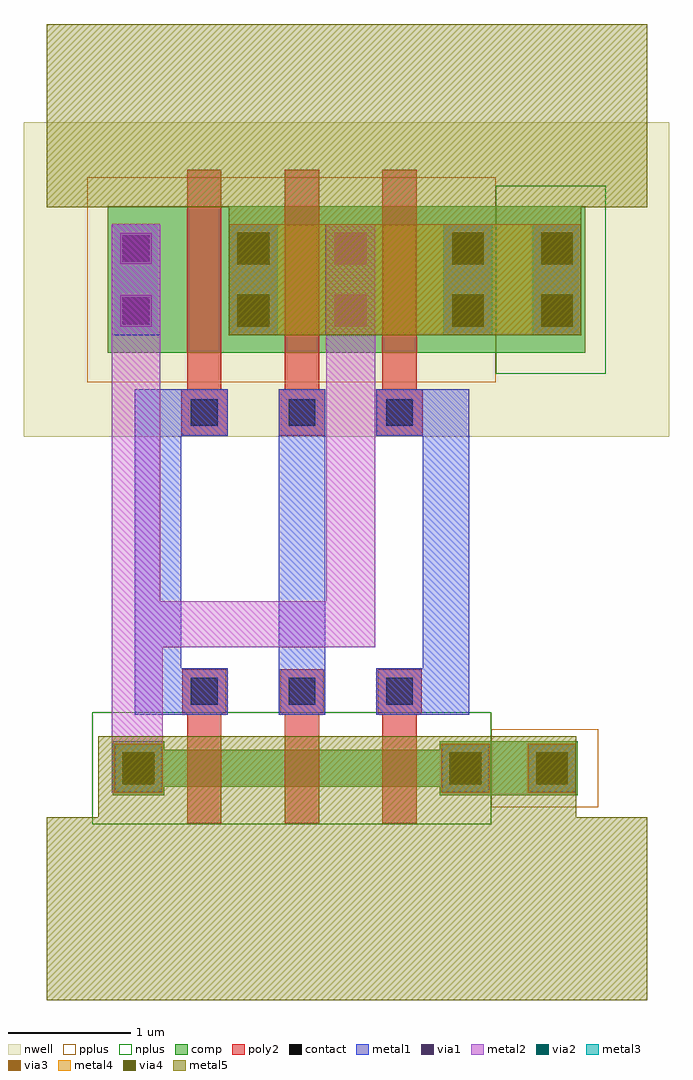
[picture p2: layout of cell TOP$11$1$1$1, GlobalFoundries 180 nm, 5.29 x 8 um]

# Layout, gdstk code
import gdstk
lib = gdstk.Library(unit=1e-6, precision=1e-09)
def R(c, l, rs):  # rectangles x0, y0, x1, y1
    for r in rs: c.add(gdstk.rectangle(r[:2], r[2:], *l))
def A(c, l, x, y, w, h, nx, ny, dx, dy):  # array of equal rectangles
    R(c, l, [(x+i*dx, y+j*dy, x+i*dx+w, y+j*dy+h) for i in range(nx) for j in range(ny)])
nwell = (21, 0)
comp = (22, 0)
poly2 = (30, 0)
pplus = (31, 0)
nplus = (32, 0)
contact = (33, 0)
metal1 = (34, 0)
via1 = (35, 0)
metal2 = (36, 0)
via2 = (38, 0)
via3 = (40, 0)
via4 = (41, 0)
metal3 = (42, 0)
metal4 = (46, 0)
metal5 = (81, 0)

pfet_12_1_1_1 = lib.new_cell('pfet$12$1$1$1')

nfet_10_1_1_1 = lib.new_cell('nfet$10$1$1$1')
R(nfet_10_1_1_1, comp, [(-0.42,-0.07,0,0.37), (2.26,-0.07,2.68,0.37), (2.68,-0.07,3.39,0.37), (0,0,2.26,0.3)])
A(nfet_10_1_1_1, poly2, 0.19, -0.3, 0.28, 0.9, 3, 1, 0.8, 0)
A(nfet_10_1_1_1, poly2, 0.15, 0.6, 0.36, 0.36, 3, 1, 0.8, 0)
R(nfet_10_1_1_1, pplus, [(2.68,-0.17,3.56,0.47)])
R(nfet_10_1_1_1, nplus, [(-0.59,-0.31,2.68,0.61)])
A(nfet_10_1_1_1, contact, 0.22, 0.67, 0.22, 0.22, 3, 1, 0.8, 0)
R(nfet_10_1_1_1, contact, [(-0.32,0.04,-0.1,0.26), (2.36,0.04,2.58,0.26), (3.07,0.04,3.29,0.26)])
A(nfet_10_1_1_1, metal1, 0.14, 0.589, 0.38, 0.382, 3, 1, 0.8, 0)
R(nfet_10_1_1_1, metal1, [(-0.4,-0.041,-0.02,0.341), (2.28,-0.041,2.66,0.341), (2.99,-0.041,3.37,0.341)])

via_dev_4_6_1_1_1 = lib.new_cell('via_dev$4$6$1$1$1')
R(via_dev_4_6_1_1_1, metal2, [(0,0,0.4,0.4)])
R(via_dev_4_6_1_1_1, via2, [(0.07,0.07,0.33,0.33)])
R(via_dev_4_6_1_1_1, via3, [(0.07,0.07,0.33,0.33)])
R(via_dev_4_6_1_1_1, via4, [(0.07,0.07,0.33,0.33)])
R(via_dev_4_6_1_1_1, metal3, [(0,0,0.4,0.4)])
R(via_dev_4_6_1_1_1, metal4, [(0,0,0.4,0.4)])
R(via_dev_4_6_1_1_1, metal5, [(0,0,0.4,0.4)])

via_dev_18_1_1_1 = lib.new_cell('via_dev$18$1$1$1')
R(via_dev_18_1_1_1, metal1, [(0,0,0.4,0.4)])
R(via_dev_18_1_1_1, via1, [(0.07,0.07,0.33,0.33)])
R(via_dev_18_1_1_1, metal2, [(0,0,0.4,0.4)])
R(via_dev_18_1_1_1, via2, [(0.07,0.07,0.33,0.33)])
R(via_dev_18_1_1_1, via3, [(0.07,0.07,0.33,0.33)])
R(via_dev_18_1_1_1, via4, [(0.07,0.07,0.33,0.33)])
R(via_dev_18_1_1_1, metal3, [(0,0,0.4,0.4)])
R(via_dev_18_1_1_1, metal4, [(0,0,0.4,0.4)])
R(via_dev_18_1_1_1, metal5, [(0,0,0.4,0.4)])

via_dev_6_3_1_1_1 = lib.new_cell('via_dev$6$3$1$1$1')
R(via_dev_6_3_1_1_1, metal1, [(0,0,0.4,0.4)])
R(via_dev_6_3_1_1_1, via1, [(0.07,0.07,0.33,0.33)])
R(via_dev_6_3_1_1_1, metal2, [(0,0,0.4,0.4)])

pfet_1_3_1_1_1 = lib.new_cell('pfet$1$3$1$1$1')
R(pfet_1_3_1_1_1, nwell, [(-1.15,-0.69,4.14,1.89)])
R(pfet_1_3_1_1_1, comp, [(-0.46,0,0,1.2), (0,0,2.26,1.2), (2.26,0,2.72,1.2), (2.72,0,3.45,1.2)])
A(pfet_1_3_1_1_1, poly2, 0.14, -0.68, 0.38, 0.38, 3, 1, 0.8, 0)
A(pfet_1_3_1_1_1, poly2, 0.19, -0.3, 0.28, 1.8, 3, 1, 0.8, 0)
R(pfet_1_3_1_1_1, pplus, [(-0.63,-0.24,2.72,1.44)])
R(pfet_1_3_1_1_1, nplus, [(2.72,-0.17,3.62,1.37)])
A(pfet_1_3_1_1_1, contact, 0.22, -0.6, 0.22, 0.22, 3, 1, 0.8, 0)
R(pfet_1_3_1_1_1, contact, [(-0.34,0.235,-0.12,0.455), (0.62,0.235,0.84,0.455), (1.42,0.235,1.64,0.455), (2.38,0.235,2.6,0.455), (3.11,0.235,3.33,0.455), (-0.34,0.745,-0.12,0.965), (0.62,0.745,0.84,0.965), (1.42,0.745,1.64,0.965), (2.38,0.745,2.6,0.965), (3.11,0.745,3.33,0.965)])
A(pfet_1_3_1_1_1, metal1, 0.14, -0.681, 0.38, 0.382, 3, 1, 0.8, 0)
R(pfet_1_3_1_1_1, metal1, [(-0.42,0.155,-0.04,1.045), (0.54,0.155,0.92,1.045), (1.34,0.155,1.72,1.045), (2.3,0.155,2.68,1.045), (3.03,0.155,3.41,1.045)])

top_11_1_1_1 = lib.new_cell('TOP$11$1$1$1')
R(top_11_1_1_1, metal1, [(0.72,2.339,1.1,5.006), (3.08,2.339,3.46,5.006), (1.9,2.721,2.28,4.624), (0.53,5.45,0.93,6.36), (1.49,5.45,1.89,6.36), (2.28,5.45,2.69,6.36), (3.25,5.45,3.65,6.36), (3.98,5.45,4.38,6.36)])
R(top_11_1_1_1, metal2, [(0.53,1.7,0.55,2.1), (0.53,2.1,0.95,2.89), (0.53,2.89,2.69,3.27), (2.29,2.89,2.69,5.45), (0.53,3.27,0.93,5.45), (0.53,5.45,0.93,6.36), (2.29,5.45,2.69,6.36), (1.49,5.85,1.89,5.96), (3.25,5.85,3.65,5.96), (3.98,5.85,4.38,5.96)])
R(top_11_1_1_1, metal3, [(1.49,5.85,1.89,5.96), (3.25,5.85,3.65,5.96), (3.98,5.85,4.38,5.96)])
R(top_11_1_1_1, metal4, [(1.49,5.45,4.38,6.36)])
R(top_11_1_1_1, metal5, [(0,0,4.92,1.5), (0.42,1.5,4.34,2.16), (1.49,5.45,4.38,6.5), (0,6.5,4.92,8)])
top_11_1_1_1.add(gdstk.Reference(pfet_12_1_1_1, (2.205,4.77)))
top_11_1_1_1.add(gdstk.Reference(nfet_10_1_1_1, (0.96,1.75)))
top_11_1_1_1.add(gdstk.Reference(pfet_12_1_1_1, (2.115,4.64)))
top_11_1_1_1.add(gdstk.Reference(pfet_12_1_1_1, (1.505,3.22)))
top_11_1_1_1.add(gdstk.Reference(via_dev_4_6_1_1_1, (3.94,1.7)))
top_11_1_1_1.add(gdstk.Reference(via_dev_18_1_1_1, (1.49,5.96)))
top_11_1_1_1.add(gdstk.Reference(via_dev_18_1_1_1, (1.49,5.45)))
top_11_1_1_1.add(gdstk.Reference(via_dev_4_6_1_1_1, (3.23,1.7)))
top_11_1_1_1.add(gdstk.Reference(via_dev_18_1_1_1, (3.25,5.45)))
top_11_1_1_1.add(gdstk.Reference(via_dev_18_1_1_1, (3.25,5.96)))
top_11_1_1_1.add(gdstk.Reference(via_dev_4_6_1_1_1, (0.55,1.7)))
top_11_1_1_1.add(gdstk.Reference(via_dev_18_1_1_1, (3.98,5.96)))
top_11_1_1_1.add(gdstk.Reference(via_dev_18_1_1_1, (3.98,5.45)))
top_11_1_1_1.add(gdstk.Reference(via_dev_6_3_1_1_1, (0.53,5.96)))
top_11_1_1_1.add(gdstk.Reference(via_dev_6_3_1_1_1, (0.53,5.45)))
top_11_1_1_1.add(gdstk.Reference(via_dev_6_3_1_1_1, (2.29,5.96)))
top_11_1_1_1.add(gdstk.Reference(via_dev_6_3_1_1_1, (2.29,5.45)))
top_11_1_1_1.add(gdstk.Reference(pfet_1_3_1_1_1, (0.96,5.305)))

lib.write_gds('TOP_11_1_1_1.gds')
